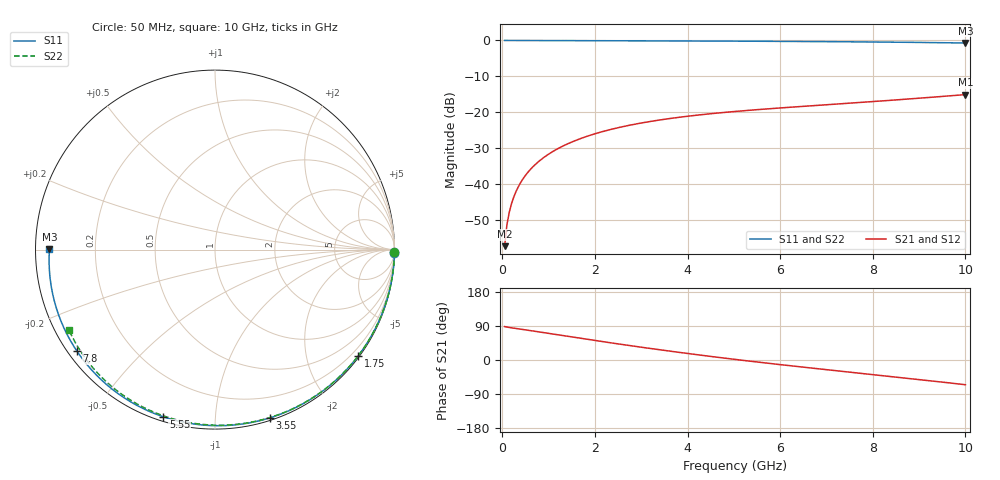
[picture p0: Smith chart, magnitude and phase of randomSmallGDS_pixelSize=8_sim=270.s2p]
! freq	dB(S11)	phase(S11)	dB(S12)	phase(S12)
!  dB(S21)	phase(S21)	dB(S22)	phase(S22)
!S-par simulation data
#  GHz  S  DB  R 50
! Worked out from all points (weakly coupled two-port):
!   200 points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, 50 MHz to 10 GHz, reference 50 ohm
!   highest |S21| = -15.05 dB at 10 GHz (marker M1); lowest = -57.2 dB at 50 MHz (marker M2)
!   lowest |S11| = -0.7 dB at 10 GHz (marker M3), VSWR 24.74, Z = 2.02 + j0.0397 ohm
!   |S11| at or under -10 dB: nowhere
!   |S22| runs from -0.6 to 0.0 dB; largest |S21 - S12| = 0
!   S11 on the Smith chart (normalised r, x): 50 MHz: open; 1.75 GHz: 0.03, -3.01; 3.55 GHz: 0.02, -1.38; 5.55 GHz: 0.02, -0.74; 7.8 GHz: 0.03, -0.33; 10 GHz: 0.04, +0.00
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0.05  -0.00 -1.1  -57.16 88.3  -57.16 88.3  -0.00 -0.9
0.1  -0.00 -2.1  -51.22 86.9  -51.22 86.9  -0.00 -1.8
0.15  -0.00 -3.2  -47.77 85.8  -47.77 85.8  -0.00 -2.7
0.2  -0.00 -4.3  -45.33 84.9  -45.33 84.9  -0.00 -3.6
0.25  -0.00 -5.4  -43.43 84.1  -43.43 84.1  -0.00 -4.5
0.35  -0.01 -7.5  -40.55 82.3  -40.55 82.3  -0.01 -6.3
0.5  -0.01 -10.7  -37.49 79.6  -37.49 79.6  -0.01 -8.9
0.7  -0.02 -14.9  -34.62 75.9  -34.62 75.9  -0.02 -12.5
1  -0.03 -21.2  -31.59 70.2  -31.59 70.2  -0.02 -17.8
1.35  -0.04 -28.5  -29.09 63.6  -29.09 63.6  -0.04 -23.9
1.75  -0.05 -36.7  -26.98 56.1  -26.98 56.1  -0.05 -30.8
2.6  -0.08 -53.7  -23.95 40.7  -23.95 40.7  -0.07 -45.2
3.4  -0.12 -69.1  -22.09 27.0  -22.09 27.0  -0.10 -58.2
3.55  -0.12 -71.9  -21.81 24.5  -21.81 24.5  -0.11 -60.6
4.3  -0.15 -85.5  -20.62 12.5  -20.62 12.5  -0.14 -72.4
5.05  -0.19 -98.7  -19.70 1.2  -19.70 1.2  -0.17 -83.7
5.55  -0.22 -107.2  -19.18 -6.0  -19.18 -6.0  -0.20 -91.0
6.7  -0.30 -126.1  -18.13 -21.6  -18.13 -21.6  -0.27 -107.2
7.8  -0.40 -143.8  -17.16 -35.8  -17.16 -35.8  -0.36 -122.1
8.35  -0.46 -152.6  -16.66 -42.9  -16.66 -42.9  -0.42 -129.4
9.2  -0.58 -166.5  -15.85 -54.2  -15.85 -54.2  -0.52 -140.6
10  -0.70 179.9  -15.05 -65.3  -15.05 -65.3  -0.64 -151.2
